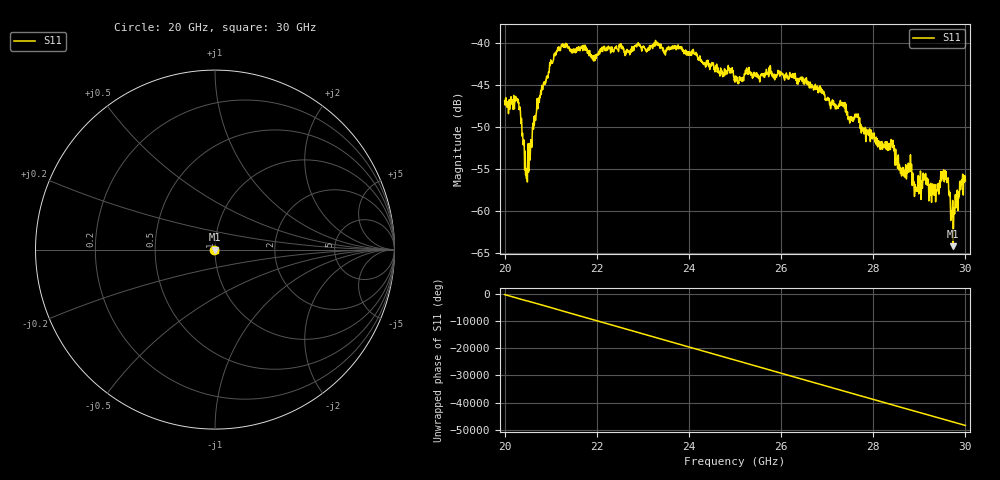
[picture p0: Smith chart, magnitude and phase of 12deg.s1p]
#  HZ  S  RI  R  50.00
! Rohde & Schwarz ZVA40 4Ports - Version 3.90 - 1145.1110k42 SN: 100403
! Date: 2023-10-03 11:38:41
! Measurement: S12
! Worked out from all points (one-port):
!   5001 points, 20 GHz to 30 GHz, reference 50 ohm
!   lowest |S11| = -64.2 dB at 29.74 GHz (marker M1), VSWR 1.00, Z = 50.1 - j0.0127 ohm
!   |S11| at or under -10 dB: start of sweep to end of sweep
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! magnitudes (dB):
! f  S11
! 20 GHz  -46.9
! 20.29 GHz  -47.1
! 20.48 GHz  -55.0
! 20.66 GHz  -48.7
! 20.81 GHz  -45.0
! 21.11 GHz  -41.1
! 21.25 GHz  -40.4
! 21.94 GHz  -41.5
! 22.5 GHz  -40.2
! 23.75 GHz  -40.7
! 25 GHz  -44.6
! 26.25 GHz  -43.7
! 27.34 GHz  -47.5
! 27.5 GHz  -49.1
! 27.66 GHz  -48.7
! 27.79 GHz  -50.4
! 28.13 GHz  -51.7
! 28.41 GHz  -51.9
! 28.6 GHz  -54.9
! 28.75 GHz  -55.0
! 28.81 GHz  -54.1
! 28.92 GHz  -57.4
! 29.12 GHz  -56.1
! 29.31 GHz  -57.8
! 29.54 GHz  -56.4
! 29.74 GHz  -64.2
! 29.9 GHz  -57.3
! 30 GHz  -56.4
